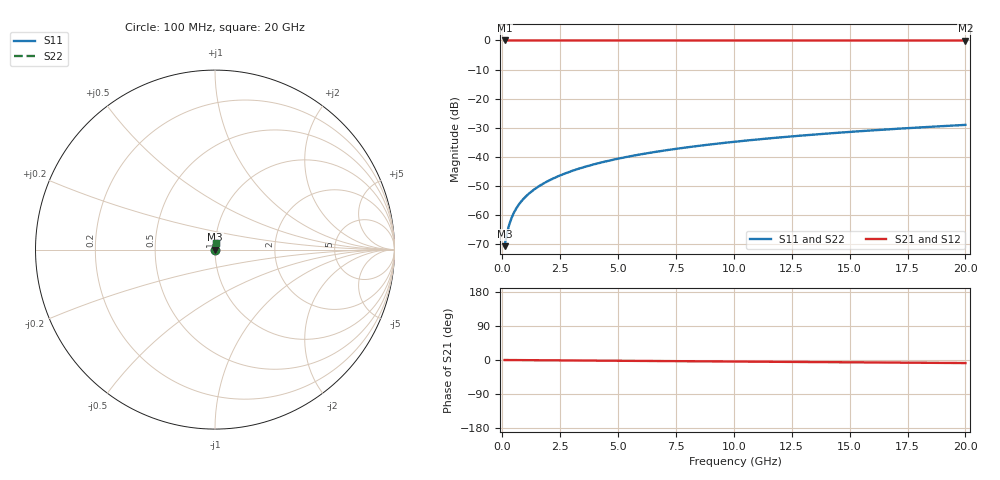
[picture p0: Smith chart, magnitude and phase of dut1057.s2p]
! Touchstone file exported from HFSS 2026.1.0
!  File:  C:/ffzhzh/LocalFiles/Ansys_Project_Files/temp_train_TSV_1057_1783189634_43440.aedt
!  Generated:  02:28:38 AM Jul  5, 2026
!  Design:  TSV
!  Project:  temp_train_TSV_1057_1783189634_43440
! Variables:
!  h_bsmrdl = 2um
!  h_ox = 20um
!  h_rdl = 5um
!  h_sub = 76.94um
!  h_tmrdl = 5um
!  h_tsv = 76.94um
!  h_via = 3um
!  l_bsmrdl = 300um
!  l_sub = 414.9um
!  l_tmrdl = 200um
!  m_sub = 200um
!  pitch = 41.82um
!  r_tsv = 7.45um
!  s_tmrdl = 10um
!  w_bsmrdl = 18um
!  w_sub = 500um
!  w_tmrdl = 12um
!  x_tsv_center1 = 206um
!  x_tsv_center2 = 524um
!  x_tsv_center3 = 736um
!  x_tsv_center4 = 1054um
!  x_tsv_center5 = 1266um
!  x_tsv_center6 = 1584um
# GHz S MA R 50.000000
! Terminal data exported
! Port[1] = TSV1_1_T1
! Port[2] = TSV1_1_T2
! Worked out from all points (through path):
!   200 points, 100 MHz to 20 GHz, reference 50 ohm
!   highest |S21| = 0.00 dB at 100 MHz (marker M1); lowest = 0.0 dB at 20 GHz (marker M2)
!   group delay of S21, straight-line fit = 1.12 ps
!   lowest |S11| = -70.6 dB at 100 MHz (marker M3), VSWR 1.00, Z = 50 + j0.0221 ohm
!   |S11| at or under -10 dB: start of sweep to end of sweep
!   |S22| runs from -70.6 to -29.0 dB; largest |S21 - S12| = 3.3e-15
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0.1  0.0002945 48.6  0.9998 -0.0  0.9998 -0.0  0.0002945 48.6
! Gamma 0 0 0 0
! Port Impedance 50 0 50 0
0.2  0.0004853 64.9  0.9998 -0.1  0.9998 -0.1  0.0004853 64.9
0.3  0.000691 71.2  0.9998 -0.1  0.9998 -0.1  0.000691 71.2
0.4  0.0008978 74.3  0.9998 -0.2  0.9998 -0.2  0.0008978 74.3
0.5  0.001102 76.0  0.9997 -0.2  0.9997 -0.2  0.001102 76.0
0.6  0.001302 77.1  0.9997 -0.3  0.9997 -0.3  0.001302 77.1
0.7  0.001499 77.9  0.9997 -0.3  0.9997 -0.3  0.001499 77.9
0.8  0.001692 78.5  0.9997 -0.3  0.9997 -0.3  0.001692 78.5
1  0.002071 79.4  0.9996 -0.4  0.9996 -0.4  0.002071 79.4
1.4  0.002814 80.7  0.9996 -0.6  0.9996 -0.6  0.002814 80.7
1.7  0.003365 81.4  0.9995 -0.7  0.9995 -0.7  0.003365 81.4
2  0.003914 81.9  0.9995 -0.8  0.9995 -0.8  0.003914 81.9
2.7  0.005193 82.7  0.9994 -1.1  0.9994 -1.1  0.005193 82.7
3.5  0.006648 83.1  0.9993 -1.4  0.9993 -1.4  0.006648 83.1
4.2  0.007913 83.2  0.9993 -1.7  0.9993 -1.7  0.007913 83.2
5  0.009351 83.3  0.9992 -2.0  0.9992 -2.0  0.009351 83.3
6.8  0.01256 83.2  0.999 -2.8  0.999 -2.8  0.01256 83.2
8.3  0.0152 82.9  0.9989 -3.4  0.9989 -3.4  0.0152 82.9
10.1  0.01837 82.5  0.9987 -4.1  0.9987 -4.1  0.01837 82.5
13.4  0.02414 81.6  0.9985 -5.4  0.9985 -5.4  0.02414 81.6
16.7  0.02986 80.6  0.9982 -6.7  0.9982 -6.7  0.02986 80.6
20  0.03554 79.5  0.9978 -8.0  0.9978 -8.0  0.03554 79.5
